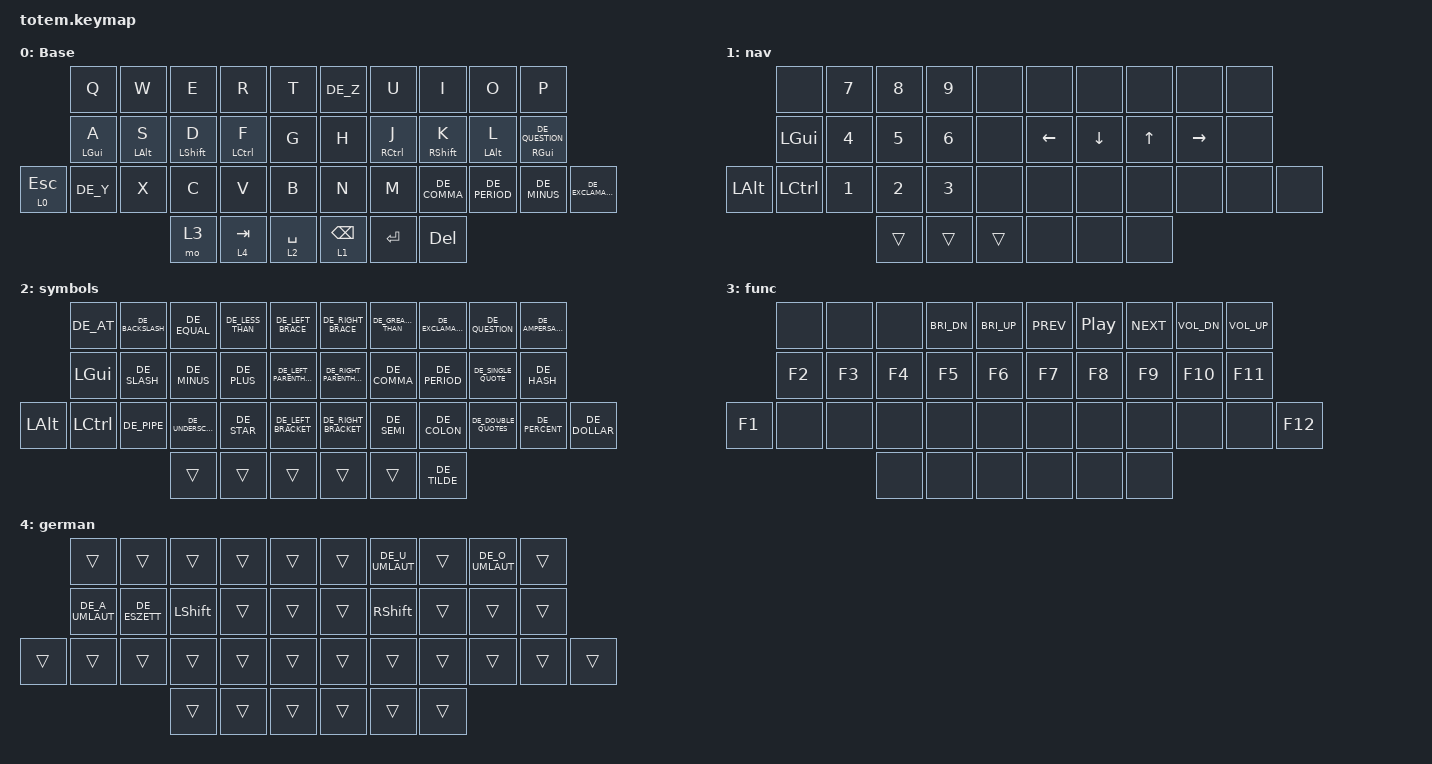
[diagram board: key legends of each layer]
//
//                                                        ▀▀▀▀▀     ▀▀▀▀▀          ▀▀█▀▀
//                                                        ▄▀▀▀▄  ▄  ▄▀▀▀▄  ▄  ▄▀▀▀▄  █  ▄▀▀▀▄
//                                                        █   █  █  █   █  █  █   █  █  █   █
//                                                         ▀▀▀   █   ▀▀▀   █   ▀▀▀   ▀   ▀▀▀
//                                                               █      ▄▄▄█▄▄▄    █   █  
//                                                               ▀      █  █  █     █▄█
//                                                             ▀▀▀▀▀    █  █  █      ▀
//                                                                      ▀  ▀  ▀
//
// ▄▄▄▄▄▄▄▄▄▄▄▄▄▄▄▄▄▄▄▄▄▄▄▄▄▄▄▄▄▄▄▄▄▄▄▄▄▄▄▄▄▄▄▄▄▄▄▄▄▄▄▄▄▄▄▄▄▄▄▄▄▄▄▄▄▄▄▄▄▄▄▄▄▄▄▄▄▄▄▄▄▄▄▄▄▄▄▄▄▄▄▄▄▄▄▄▄▄▄▄▄▄▄▄▄▄▄▄▄▄▄▄▄▄▄▄▄▄▄▄▄▄▄▄▄▄▄▄▄▄▄▄▄▄▄▄▄▄▄▄▄▄▄▄▄▄▄▄▄

#include "keys_de.h"
#include <behaviors.dtsi>
#include <dt-bindings/zmk/keys.h>

#define Base        0
#define Nav         1
#define Sym         2
#define Fun         3
#define Game        4
#define Gameplus    5

&mt {
    quick-tap-ms = <100>;
    global-quick-tap;
    flavor = "tap-preferred";
    tapping-term-ms = <170>;
};

&lt {
    tapping-term-ms = <240>;
    flavor = "balanced";
    quick-tap-ms = <170>;
};

/ {
    behaviors {
        hm: homerow_mods {
            compatible = "zmk,behavior-hold-tap";
            label = "HOMEROW_MODS";
            #binding-cells = <2>;
            flavor = "tap-preferred";
            tapping-term-ms = <220>;
            quick-tap-ms = <135>;
            global-quick-tap;
            bindings = <&kp>, <&kp>;
        };
    };

    combos {
        compatible = "zmk,combos";

        zmk-studio {
            bindings = <&studio_unlock>;
            key-positions = <1 2 3 4>;
        };
    };

    keymap {
        compatible = "zmk,keymap";

        Base {
            display-name = "Base";
            bindings = <
              &kp Q       &kp W       &kp E         &kp R               &kp T          &kp DE_Z         &kp U                &kp I              &kp O          &kp P
              &hm LGUI A  &hm LALT S  &hm LSHIFT D  &hm LEFT_CONTROL F  &kp G          &kp H            &hm RIGHT_CONTROL J  &hm RIGHT_SHIFT K  &hm LALT L     &hm RGUI DE_QUESTION
&lt 0 ESCAPE  &kp DE_Y    &kp X       &kp C         &kp V               &kp B          &kp N            &kp M                &kp DE_COMMA       &kp DE_PERIOD  &kp DE_MINUS          &kp DE_EXCLAMATION
                                      &mo 3         &lt 4 TAB           &lt 2 SPACE    &lt 1 BACKSPACE  &kp ENTER            &kp DEL
            >;
        };

        nav {
            bindings = <
          &none      &kp N7  &kp N8  &kp N9  &none     &none     &none     &none   &none      &none
          &kp LGUI   &kp N4  &kp N5  &kp N6  &none     &kp LEFT  &kp DOWN  &kp UP  &kp RIGHT  &none
&kp LALT  &kp LCTRL  &kp N1  &kp N2  &kp N3  &none     &none     &none     &none   &none      &none  &none
                             &trans  &trans  &trans    &none     &none     &none
            >;
        };

        symbols {
            bindings = <
          &kp DE_AT  &kp DE_BACKSLASH  &kp DE_EQUAL       &kp DE_LESS_THAN  &kp DE_LEFT_BRACE          &kp DE_RIGHT_BRACE        &kp DE_GREATER_THAN  &kp DE_EXCLAMATION  &kp DE_QUESTION       &kp DE_AMPERSAND
          &kp LGUI   &kp DE_SLASH      &kp DE_MINUS       &kp DE_PLUS       &kp DE_LEFT_PARENTHESIS    &kp DE_RIGHT_PARENTHESIS  &kp DE_COMMA         &kp DE_PERIOD       &kp DE_SINGLE_QUOTE   &kp DE_HASH
&kp LALT  &kp LCTRL  &kp DE_PIPE       &kp DE_UNDERSCORE  &kp DE_STAR       &kp DE_LEFT_BRACKET        &kp DE_RIGHT_BRACKET      &kp DE_SEMI          &kp DE_COLON        &kp DE_DOUBLE_QUOTES  &kp DE_PERCENT    &kp DE_DOLLAR
                                       &trans             &trans            &trans                     &trans                    &trans               &kp DE_TILDE
            >;
        };

        func {
            bindings = <
        &none   &none   &none   &kp C_BRI_DN  &kp C_BRI_UP    &kp C_PREV  &kp C_PLAY_PAUSE  &kp C_NEXT  &kp C_VOL_DN  &kp C_VOLUME_UP
        &kp F2  &kp F3  &kp F4  &kp F5        &kp F6          &kp F7      &kp F8            &kp F9      &kp F10       &kp F11
&kp F1  &none   &none   &none   &none         &none           &none       &none             &none       &none         &none            &kp F12
                        &none   &none         &none           &none       &none             &none
            >;
        };

        german {
            bindings = <
        &trans           &trans         &trans          &trans  &trans    &trans  &kp DE_U_UMLAUT  &trans  &kp DE_O_UMLAUT  &trans
        &kp DE_A_UMLAUT  &kp DE_ESZETT  &kp LEFT_SHIFT  &trans  &trans    &trans  &kp RSHFT        &trans  &trans           &trans
&trans  &trans           &trans         &trans          &trans  &trans    &trans  &trans           &trans  &trans           &trans  &trans
                                        &trans          &trans  &trans    &trans  &trans           &trans
            >;
        };
    };
};
